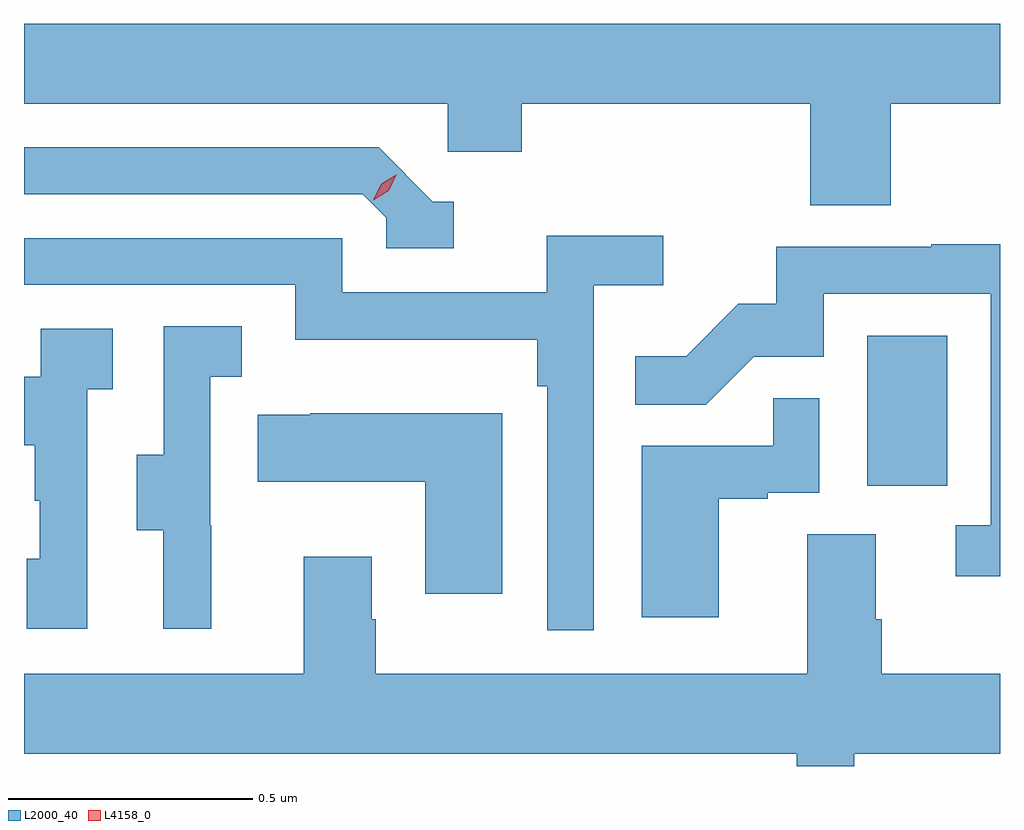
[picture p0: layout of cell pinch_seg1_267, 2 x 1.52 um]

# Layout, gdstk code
import gdstk
lib = gdstk.Library(unit=1e-6, precision=1e-09)
def R(c, l, rs):  # rectangles x0, y0, x1, y1
    for r in rs: c.add(gdstk.rectangle(r[:2], r[2:], *l))
def P(c, l, *ps):  # polygons
    for p in ps: c.add(gdstk.Polygon(p, *l))
L2000_40 = (2000, 40)
L4158_0 = (4158, 0)

pinch_seg1_267 = lib.new_cell('pinch_seg1_267')
R(pinch_seg1_267, L2000_40, [(950.798,574.926,950.962,575.233)])
P(pinch_seg1_267, L2000_40, [(950.846,575.708),(951.07,575.708),(951.07,575.872),(949.07,575.872),(949.07,575.708),(949.938,575.708),(949.938,575.61),(950.09,575.61),(950.09,575.708),(950.681,575.708),(950.681,575.5),(950.846,575.5)],
  [(949.951,575.508),(949.908,575.508),(949.797,575.619),(949.07,575.619),(949.07,575.523),(949.764,575.523),(949.812,575.475),(949.812,575.412),(949.951,575.412)],
  [(950.238,575.336),(950.38,575.336),(950.38,575.438),(950.141,575.438),(950.141,575.322),(949.722,575.322),(949.722,575.433),(949.07,575.433),(949.07,575.337),(949.626,575.337),(949.626,575.225),(950.122,575.225),(950.122,575.129),(950.142,575.129),(950.142,574.629),(950.238,574.629)],
  [(951.07,575.42),(950.929,575.42),(950.929,575.415),(950.611,575.415),(950.611,575.298),(950.534,575.298),(950.427,575.191),(950.323,575.191),(950.323,575.092),(950.467,575.092),(950.565,575.19),(950.709,575.19),(950.709,575.319),(951.051,575.319),(951.051,574.845),(950.979,574.845),(950.979,574.74),(951.07,574.74)],
  [(949.454,574.845),(949.452,574.845),(949.452,575.149),(949.516,575.149),(949.516,575.252),(949.356,575.252),(949.356,574.989),(949.301,574.989),(949.301,574.834),(949.355,574.834),(949.355,574.632),(949.454,574.632)],
  [(949.2,575.123),(949.252,575.123),(949.252,575.247),(949.104,575.247),(949.104,575.149),(949.07,575.149),(949.07,575.009),(949.092,575.009),(949.092,574.895),(949.102,574.895),(949.102,574.776),(949.076,574.776),(949.076,574.632),(949.2,574.632)],
  [(950.494,574.899),(950.594,574.899),(950.594,574.911),(950.7,574.911),(950.7,575.105),(950.605,575.105),(950.605,575.007),(950.336,575.007),(950.336,574.656),(950.494,574.656)],
  [(950.05,575.074),(949.657,575.074),(949.657,575.071),(949.549,575.071),(949.549,574.934),(949.892,574.934),(949.892,574.704),(950.05,574.704)],
  [(950.771,574.376),(951.07,574.376),(951.07,574.54),(950.828,574.54),(950.828,574.652),(950.815,574.652),(950.815,574.826),(950.675,574.826),(950.675,574.54),(949.791,574.54),(949.791,574.652),(949.783,574.652),(949.783,574.78),(949.643,574.78),(949.643,574.54),(949.07,574.54),(949.07,574.376),(950.653,574.376),(950.653,574.351),(950.771,574.351)])
P(pinch_seg1_267, L4158_0, [(949.786,575.511),(949.786,575.511),(949.802,575.544),(949.833,575.563),(949.833,575.563),(949.833,575.563),(949.817,575.53),(949.786,575.511)])

lib.write_gds('pinch_seg1_267.gds')
